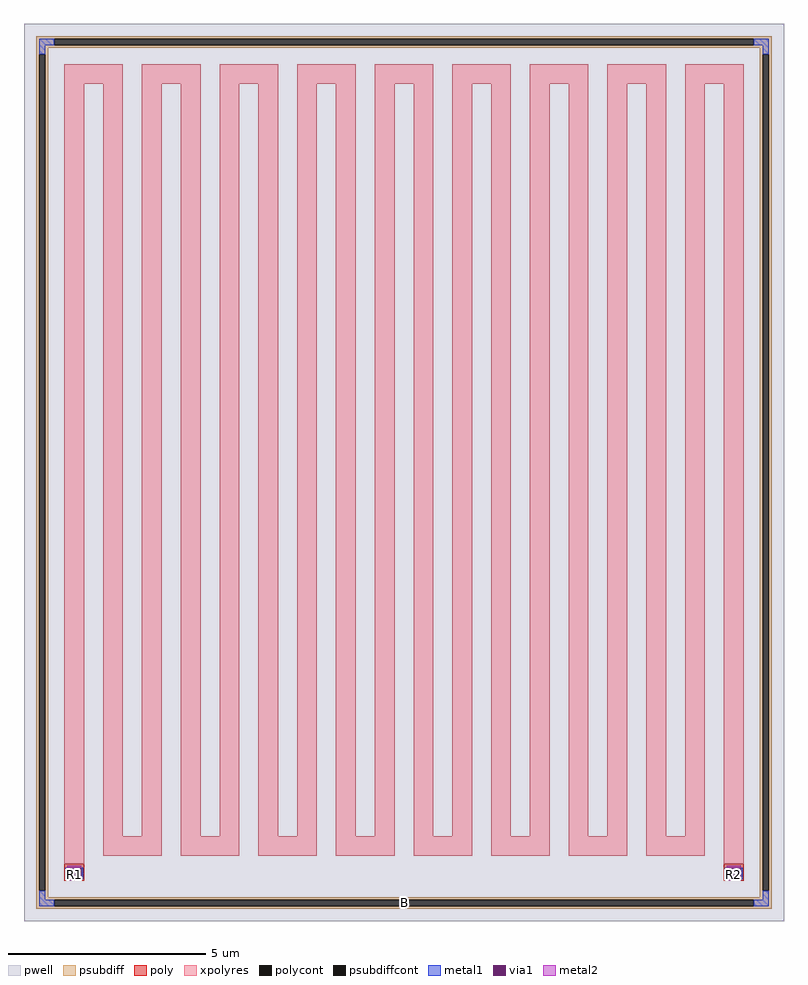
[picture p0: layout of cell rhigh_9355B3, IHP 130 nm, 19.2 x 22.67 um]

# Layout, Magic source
magic
tech ihp-sg13g2
magscale 1 2
<< pwell >>
rect -1920 -2267 1920 2267
<< psubdiff >>
rect -1858 2191 1858 2205
rect -1858 2159 -1766 2191
rect 1766 2159 1858 2191
rect -1858 2145 1858 2159
rect -1858 2113 -1798 2145
rect -1858 -2113 -1844 2113
rect -1812 -2113 -1798 2113
rect 1798 2113 1858 2145
rect -1858 -2145 -1798 -2113
rect 1798 -2113 1812 2113
rect 1844 -2113 1858 2113
rect 1798 -2145 1858 -2113
rect -1858 -2159 1858 -2145
rect -1858 -2191 -1766 -2159
rect 1766 -2191 1858 -2159
rect -1858 -2205 1858 -2191
<< psubdiffcont >>
rect -1766 2159 1766 2191
rect -1844 -2113 -1812 2113
rect 1812 -2113 1844 2113
rect -1766 -2191 1766 -2159
<< poly >>
rect -1716 -2017 -1616 -1977
rect -1716 -2049 -1702 -2017
rect -1630 -2049 -1616 -2017
rect -1716 -2063 -1616 -2049
rect 1616 -2017 1716 -1977
rect 1616 -2049 1630 -2017
rect 1702 -2049 1716 -2017
rect 1616 -2063 1716 -2049
<< polycont >>
rect -1702 -2049 -1630 -2017
rect 1630 -2049 1702 -2017
<< xpolyres >>
rect -1716 1963 -1420 2063
rect -1716 -1977 -1616 1963
rect -1520 -1837 -1420 1963
rect -1324 1963 -1028 2063
rect -1324 -1837 -1224 1963
rect -1520 -1937 -1224 -1837
rect -1128 -1837 -1028 1963
rect -932 1963 -636 2063
rect -932 -1837 -832 1963
rect -1128 -1937 -832 -1837
rect -736 -1837 -636 1963
rect -540 1963 -244 2063
rect -540 -1837 -440 1963
rect -736 -1937 -440 -1837
rect -344 -1837 -244 1963
rect -148 1963 148 2063
rect -148 -1837 -48 1963
rect -344 -1937 -48 -1837
rect 48 -1837 148 1963
rect 244 1963 540 2063
rect 244 -1837 344 1963
rect 48 -1937 344 -1837
rect 440 -1837 540 1963
rect 636 1963 932 2063
rect 636 -1837 736 1963
rect 440 -1937 736 -1837
rect 832 -1837 932 1963
rect 1028 1963 1324 2063
rect 1028 -1837 1128 1963
rect 832 -1937 1128 -1837
rect 1224 -1837 1324 1963
rect 1420 1963 1716 2063
rect 1420 -1837 1520 1963
rect 1224 -1937 1520 -1837
rect 1616 -1977 1716 1963
<< metal1 >>
rect -1844 2159 -1766 2191
rect 1766 2159 1844 2191
rect -1844 2113 -1812 2159
rect 1812 2113 1844 2159
rect -1712 -1997 -1620 -1996
rect -1712 -2053 -1702 -1997
rect -1630 -2053 -1620 -1997
rect -1712 -2054 -1620 -2053
rect 1620 -1997 1712 -1996
rect 1620 -2053 1630 -1997
rect 1702 -2053 1712 -1997
rect 1620 -2054 1712 -2053
rect -1844 -2159 -1812 -2113
rect 1812 -2159 1844 -2113
rect -1844 -2191 -1766 -2159
rect 1766 -2191 1844 -2159
<< via1 >>
rect -1702 -2017 -1630 -1997
rect -1702 -2049 -1630 -2017
rect -1702 -2053 -1630 -2049
rect 1630 -2017 1702 -1997
rect 1630 -2049 1702 -2017
rect 1630 -2053 1702 -2049
<< metal2 >>
rect -1702 -1997 -1630 -1988
rect -1702 -2062 -1630 -2053
rect 1630 -1997 1702 -1988
rect 1630 -2062 1702 -2053
<< labels >>
rlabel psubdiffcont 0 -2175 0 -2175 0 B
port 1 nsew
rlabel polycont -1666 -2033 -1666 -2033 0 R1
port 2 nsew
rlabel polycont 1666 -2033 1666 -2033 0 R2
port 3 nsew
<< properties >>
string FIXED_BBOX -1828 -2175 1828 2175
string gencell rhigh
string library sg13g2
string parameters w 0.50 l 20 m 1 nx 18 wmin 0.50 lmin 0.50 class resistor rho 1360 val 1.002meg dummy 0 dw 0.0 term 0.0 sterm 0.0 caplen 0 guard 1 glc 1 grc 1 gtc 1 gbc 1 snake 1 full_metal 1 n_guard 0 hv_guard 0 vias 1 viagb 0 viagt 0 viagl 0 viagr 0 doports 1
<< end >>
